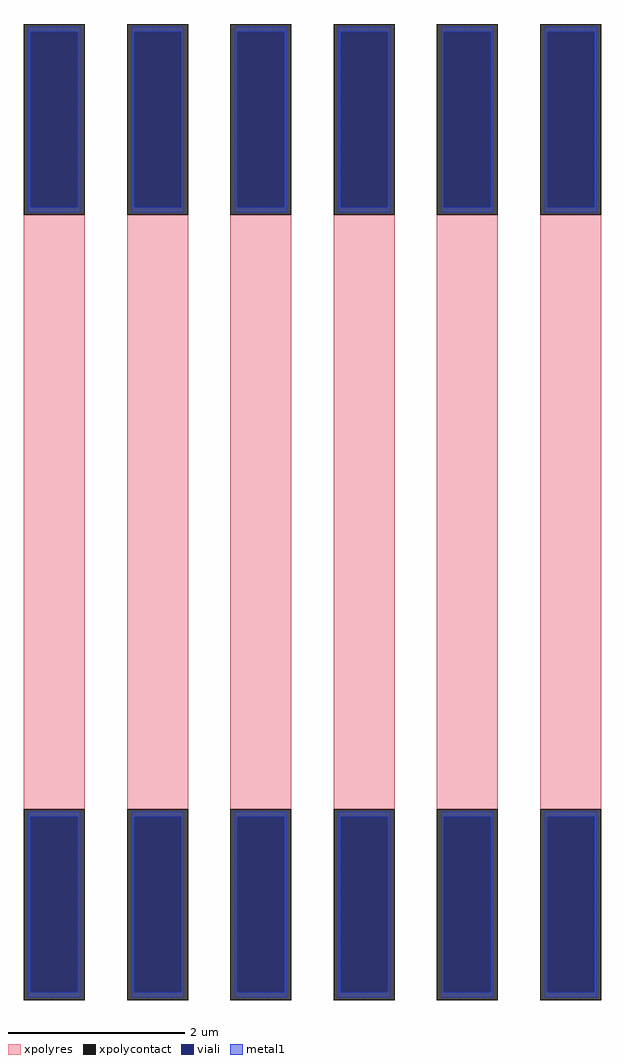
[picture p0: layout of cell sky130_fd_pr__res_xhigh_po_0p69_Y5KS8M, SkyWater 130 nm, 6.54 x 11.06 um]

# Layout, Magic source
magic
tech sky130A
magscale 1 2
<< xpolycontact >>
rect -654 674 -516 1106
rect -654 -1106 -516 -674
rect -420 674 -282 1106
rect -420 -1106 -282 -674
rect -186 674 -48 1106
rect -186 -1106 -48 -674
rect 48 674 186 1106
rect 48 -1106 186 -674
rect 282 674 420 1106
rect 282 -1106 420 -674
rect 516 674 654 1106
rect 516 -1106 654 -674
<< xpolyres >>
rect -654 -674 -516 674
rect -420 -674 -282 674
rect -186 -674 -48 674
rect 48 -674 186 674
rect 282 -674 420 674
rect 516 -674 654 674
<< viali >>
rect -638 691 -532 1088
rect -404 691 -298 1088
rect -170 691 -64 1088
rect 64 691 170 1088
rect 298 691 404 1088
rect 532 691 638 1088
rect -638 -1088 -532 -691
rect -404 -1088 -298 -691
rect -170 -1088 -64 -691
rect 64 -1088 170 -691
rect 298 -1088 404 -691
rect 532 -1088 638 -691
<< metal1 >>
rect -644 1088 -526 1100
rect -644 691 -638 1088
rect -532 691 -526 1088
rect -644 679 -526 691
rect -410 1088 -292 1100
rect -410 691 -404 1088
rect -298 691 -292 1088
rect -410 679 -292 691
rect -176 1088 -58 1100
rect -176 691 -170 1088
rect -64 691 -58 1088
rect -176 679 -58 691
rect 58 1088 176 1100
rect 58 691 64 1088
rect 170 691 176 1088
rect 58 679 176 691
rect 292 1088 410 1100
rect 292 691 298 1088
rect 404 691 410 1088
rect 292 679 410 691
rect 526 1088 644 1100
rect 526 691 532 1088
rect 638 691 644 1088
rect 526 679 644 691
rect -644 -691 -526 -679
rect -644 -1088 -638 -691
rect -532 -1088 -526 -691
rect -644 -1100 -526 -1088
rect -410 -691 -292 -679
rect -410 -1088 -404 -691
rect -298 -1088 -292 -691
rect -410 -1100 -292 -1088
rect -176 -691 -58 -679
rect -176 -1088 -170 -691
rect -64 -1088 -58 -691
rect -176 -1100 -58 -1088
rect 58 -691 176 -679
rect 58 -1088 64 -691
rect 170 -1088 176 -691
rect 58 -1100 176 -1088
rect 292 -691 410 -679
rect 292 -1088 298 -691
rect 404 -1088 410 -691
rect 292 -1100 410 -1088
rect 526 -691 644 -679
rect 526 -1088 532 -691
rect 638 -1088 644 -691
rect 526 -1100 644 -1088
<< properties >>
string gencell sky130_fd_pr__res_xhigh_po_0p69
string library sky130
string parameters w 0.690 l 6.9 m 1 nx 6 wmin 0.690 lmin 0.50 class resistor rho 2000 val 20.545k dummy 0 dw 0.0 term 188.2 sterm 0.0 caplen 0 wmax 0.690 guard 0 glc 1 grc 1 gtc 1 gbc 1 compatible {sky130_fd_pr__res_xhigh_po_0p35  sky130_fd_pr__res_xhigh_po_0p69 sky130_fd_pr__res_xhigh_po_1p41  sky130_fd_pr__res_xhigh_po_2p85 sky130_fd_pr__res_xhigh_po_5p73} snake 0 full_metal 1 n_guard 0 hv_guard 0 vias 1 viagb 0 viagt 0 viagl 0 viagr 0
<< end >>
